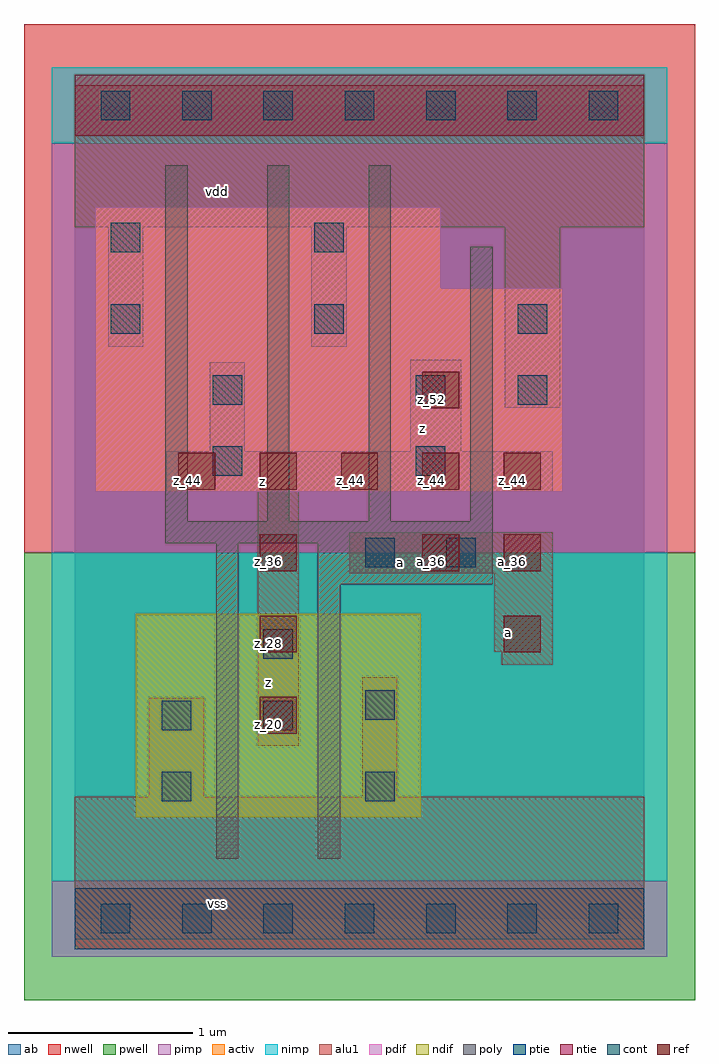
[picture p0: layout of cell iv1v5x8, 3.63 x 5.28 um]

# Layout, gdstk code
import gdstk
lib = gdstk.Library(unit=1e-6, precision=2.5e-09)
def R(c, l, rs):  # rectangles x0, y0, x1, y1
    for r in rs: c.add(gdstk.rectangle(r[:2], r[2:], *l))
def A(c, l, x, y, w, h, nx, ny, dx, dy):  # array of equal rectangles
    R(c, l, [(x+i*dx, y+j*dy, x+i*dx+w, y+j*dy+h) for i in range(nx) for j in range(ny)])
ndif = (3, 0)
pdif = (4, 0)
ntie = (5, 0)
ptie = (6, 0)
ref = (24, 0)
cont = (25, 0)
pwell = (41, 0)
nwell = (42, 0)
activ = (43, 0)
pimp = (44, 0)
nimp = (45, 0)
poly = (46, 0)
alu1 = (49, 0)
ab = (63, 0)

iv1v5x8 = lib.new_cell('iv1v5x8')
R(iv1v5x8, ndif, [(0.33,0.55,1.87,1.65)])
R(iv1v5x8, pdif, [(0.11,2.31,2.64,3.41), (0.11,3.41,1.98,3.85)])
R(iv1v5x8, ntie, [(0,4.235,3.08,4.565)])
R(iv1v5x8, ptie, [(0,-0.165,3.08,0.165)])
A(iv1v5x8, ref, 1, 1, 0.2, 0.2, 1, 3, 0, 0.44)
A(iv1v5x8, ref, 0.56, 2.32, 0.2, 0.2, 5, 1, 0.44, 0)
R(iv1v5x8, ref, [(2.32,1.44,2.52,1.64), (1.88,1.88,2.08,2.08), (2.32,1.88,2.52,2.08), (1.88,2.76,2.08,2.96)])
A(iv1v5x8, cont, 0.14, -0.08, 0.16, 0.16, 7, 2, 0.44, 4.4)
A(iv1v5x8, cont, 0.195, 3.165, 0.16, 0.16, 3, 1, 1.1, 0)
R(iv1v5x8, cont, [(0.47,0.635,0.63,0.795), (1.57,0.635,1.73,0.795), (0.47,1.02,0.63,1.18), (1.02,1.02,1.18,1.18), (1.57,1.075,1.73,1.235), (1.02,1.405,1.18,1.565), (1.57,1.9,1.73,2.06), (2.01,1.9,2.17,2.06), (0.745,2.395,0.905,2.555), (1.845,2.395,2.005,2.555), (0.745,2.78,0.905,2.94), (1.845,2.78,2.005,2.94), (2.395,2.78,2.555,2.94), (0.195,3.605,0.355,3.765), (1.295,3.605,1.455,3.765)])
R(iv1v5x8, pwell, [(-0.275,-0.44,3.355,1.98)])
R(iv1v5x8, nwell, [(-0.275,1.98,3.355,4.84)])
R(iv1v5x8, activ, [(0,-0.165,3.08,0.165), (0.33,0.55,1.87,1.65), (0.11,2.31,2.64,3.41), (0.11,3.41,1.98,3.85), (0,4.235,3.08,4.565)])
R(iv1v5x8, pimp, [(-0.125,-0.205,3.205,0.205), (-0.125,1.98,3.205,4.195)])
R(iv1v5x8, nimp, [(-0.125,0.205,3.205,1.98), (-0.125,4.195,3.205,4.605)])
A(iv1v5x8, poly, 0.49, 2.15, 0.12, 1.925, 3, 1, 0.55, 0)
R(iv1v5x8, poly, [(0.765,0.325,0.885,2.03), (1.315,0.325,1.435,1.81), (1.315,1.81,2.26,2.03), (0.49,2.03,2.26,2.15), (2.14,2.15,2.26,3.635)])
R(iv1v5x8, alu1, [(0,-0.11,3.08,0.66), (0.4,0.66,0.7,1.195), (1.555,0.66,1.745,1.305), (0.99,0.935,1.21,2.31), (2.31,1.375,2.585,1.445), (2.27,1.445,2.585,1.87), (1.485,1.87,2.585,2.09), (0.495,2.31,2.585,2.53), (0.73,2.53,0.92,3.01), (1.815,2.53,2.09,3.025), (2.325,2.765,2.625,3.74), (0.18,3.095,0.37,3.74), (1.28,3.095,1.47,3.74), (0,3.74,3.08,4.51)])
R(iv1v5x8, ab, [(0,0,3.08,4.4)])
iv1v5x8.add(gdstk.Label('vss', (0.77,0.0825), layer=49, texttype=0))
iv1v5x8.add(gdstk.Label('a', (2.3475,1.55), layer=49, texttype=0))
iv1v5x8.add(gdstk.Label('a', (1.76,1.925), layer=49, texttype=0))
iv1v5x8.add(gdstk.Label('z', (1.045,1.2775), layer=49, texttype=0))
iv1v5x8.add(gdstk.Label('z', (1.0175,2.365), layer=49, texttype=0))
iv1v5x8.add(gdstk.Label('z', (1.8825,2.6525), layer=49, texttype=0))
iv1v5x8.add(gdstk.Label('vdd', (0.77,3.9325), layer=49, texttype=0))
iv1v5x8.add(gdstk.Label('z_44', (0.61,2.37), layer=24, texttype=0))
iv1v5x8.add(gdstk.Label('z_20', (1.05,1.05), layer=24, texttype=0))
iv1v5x8.add(gdstk.Label('z_28', (1.05,1.49), layer=24, texttype=0))
iv1v5x8.add(gdstk.Label('z_36', (1.05,1.93), layer=24, texttype=0))
iv1v5x8.add(gdstk.Label('z_44', (1.05,2.37), layer=24, texttype=0))
iv1v5x8.add(gdstk.Label('z_44', (1.49,2.37), layer=24, texttype=0))
iv1v5x8.add(gdstk.Label('a_36', (1.93,1.93), layer=24, texttype=0))
iv1v5x8.add(gdstk.Label('z_44', (1.93,2.37), layer=24, texttype=0))
iv1v5x8.add(gdstk.Label('z_52', (1.93,2.81), layer=24, texttype=0))
iv1v5x8.add(gdstk.Label('a_28', (2.37,1.49), layer=24, texttype=0))
iv1v5x8.add(gdstk.Label('a_36', (2.37,1.93), layer=24, texttype=0))
iv1v5x8.add(gdstk.Label('z_44', (2.37,2.37), layer=24, texttype=0))

lib.write_gds('iv1v5x8.gds')
